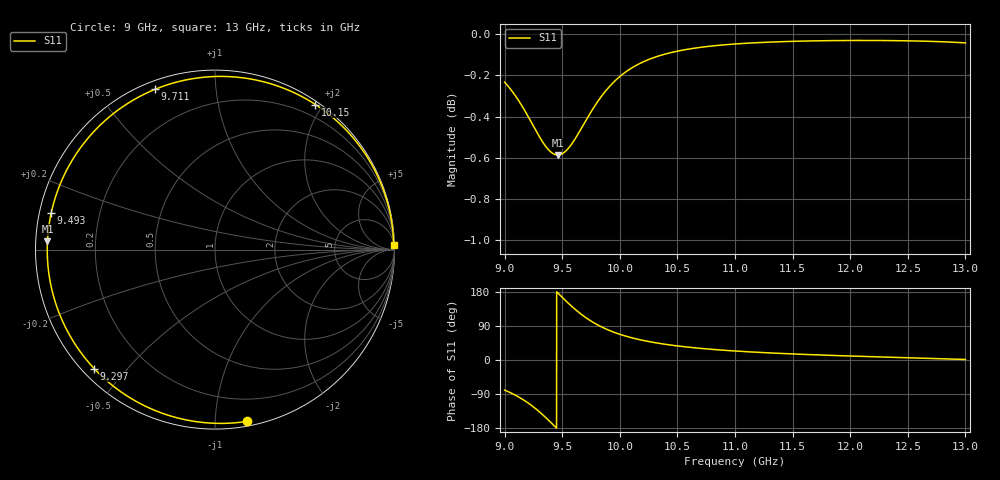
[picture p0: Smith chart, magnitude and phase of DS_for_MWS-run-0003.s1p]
! TOUCHSTONE file generated by CST DESIGN STUDIO
! Date and time: Tue Feb  4 16:21:44 2025
! Project name: C:\Work\MatlabApps\UnitCellOptimizationMatlab\CST\unitcell.cst
! Tree item: Tasks\Sweep1\SPara1\S-Parameters
! Header version: 2024
! Port assignment regex: !\s*Touchstone port\s*([0-9]+)\s*=\s*(CST MWS port|CST DES external port|CST DES block port)\s*(.+)\s* \(\"(.*)\"\)(\s*mode\s*([0-9]+))?.*
! Touchstone port assignment:
! Touchstone port 1 = CST DES external port 1 ("")
# GHz S MA R 50
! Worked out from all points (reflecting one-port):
!   4001 points, 9 GHz to 13 GHz, reference 50 ohm
!   lowest |S11| = -0.6 dB at 9.461 GHz (marker M1), VSWR 29.62, Z = 1.69 + j1.24 ohm
!   phase of S11 starts at -80 deg and turns -279 deg over the sweep
!   S11 on the Smith chart (normalised r, x): 9 GHz: 0.03, -1.20; 9.297 GHz: 0.03, -0.41; 9.493 GHz: 0.03, +0.11; 9.711 GHz: 0.04, +0.69; 10.15 GHz: 0.04, +1.91; 13 GHz: 16, +79
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9  0.9736 -79.5
9.072  0.9681 -89.5
9.167  0.959 -105.9
9.234  0.9517 -120.0
9.297  0.9448 -135.4
9.34  0.9406 -147.0
9.385  0.9372 -159.9
9.424  0.9353 -171.6
9.461  0.9347 177.1
9.493  0.9351 167.5
9.5  0.9353 165.3
9.55  0.9379 150.7
9.607  0.9427 135.0
9.658  0.9478 122.3
9.711  0.9535 110.5
9.767  0.9592 99.6
9.831  0.965 88.9
9.913  0.9714 77.6
10  0.9766 67.8
10.148  0.983 55.3
10.307  0.9873 45.6
10.5  0.9906 37.1
10.722  0.9929 30.1
11  0.9946 23.8
11.5  0.9961 16.0
12  0.9965 10.5
12.5  0.9963 6.0
13  0.9952 1.4
